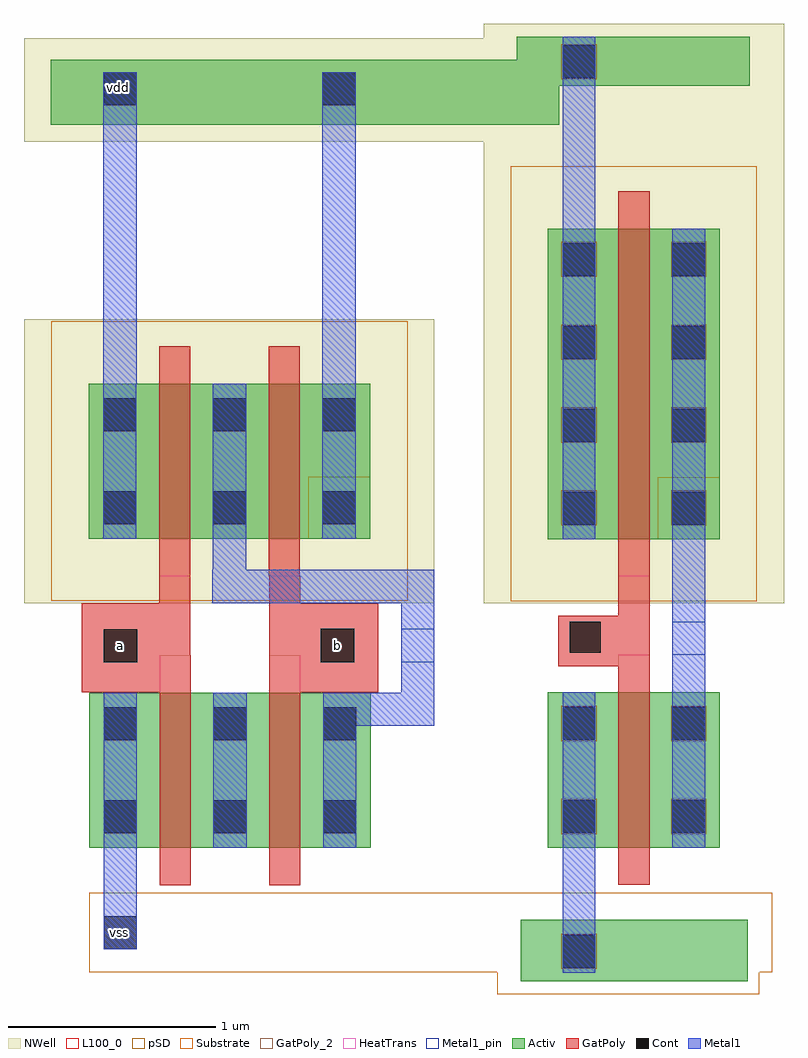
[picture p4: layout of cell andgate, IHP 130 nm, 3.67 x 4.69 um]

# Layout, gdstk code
import gdstk
lib = gdstk.Library(unit=1e-6, precision=1.5e-09)
def R(c, l, rs):  # rectangles x0, y0, x1, y1
    for r in rs: c.add(gdstk.rectangle(r[:2], r[2:], *l))
Activ = (1, 0)
GatPoly = (5, 0)
GatPoly_2 = (5, 2)
Cont = (6, 0)
Metal1 = (8, 0)
Metal1_pin = (8, 2)
pSD = (14, 0)
NWell = (31, 0)
Substrate = (40, 0)
HeatTrans = (51, 0)
L100_0 = (100, 0)

pmos_5 = lib.new_cell('pmos$5')
R(pmos_5, Activ, [(0,0,0.3,0.3), (0,0,1.3605,0.75), (0.5295,0,0.8295,0.3), (1.0605,0,1.3605,0.3)])
R(pmos_5, GatPoly, [(0.3405,-0.18,0.4905,0.93), (0.3405,-0.18,0.4905,0.93), (0.87,-0.18,1.02,0.93)])
R(pmos_5, Cont, [(0.0705,0.0705,0.2295,0.2295), (0.6,0.0705,0.7605,0.2295), (1.1295,0.0705,1.29,0.2295), (0.0705,0.5205,0.2295,0.6795), (0.6,0.5205,0.7605,0.6795), (1.1295,0.5205,1.29,0.6795)])
R(pmos_5, Metal1, [(0.0705,0,0.2295,0.75), (0.0705,0,0.2295,0.75), (0.6,0,0.7605,0.75), (0.6,0,0.7605,0.75), (1.1295,0,1.29,0.75)])
R(pmos_5, pSD, [(-0.18,-0.3,1.5405,1.05)])
R(pmos_5, NWell, [(-0.3105,-0.3105,1.6695,1.0605)])
R(pmos_5, Substrate, [(1.0605,0,1.3605,0.3)])
R(pmos_5, HeatTrans, [(0.3405,-0.18,0.4905,0.93), (0.87,-0.18,1.02,0.93)])
pmos_5.add(gdstk.Label('pmos', (0.4155,0.375), layer=63, texttype=0))
pmos_5.add(gdstk.Label('pmos', (0.4155,0.375), layer=51, texttype=0))
pmos_5.add(gdstk.Label('pmos', (0.945,0.375), layer=51, texttype=0))

nmos_6 = lib.new_cell('nmos$6')
R(nmos_6, Activ, [(0,0,0.3,0.3), (0,0,0.8295,0.75), (0.5295,0,0.8295,0.3)])
R(nmos_6, GatPoly, [(0.3405,-0.18,0.4905,0.93)])
R(nmos_6, GatPoly_2, [(0.3405,-0.18,0.4905,0.93)])
R(nmos_6, Cont, [(0.0705,0.0705,0.2295,0.2295), (0.6,0.0705,0.7605,0.2295), (0.0705,0.5205,0.2295,0.6795), (0.6,0.5205,0.7605,0.6795)])
R(nmos_6, Metal1, [(0.0705,0,0.2295,0.75), (0.6,0,0.7605,0.75)])
R(nmos_6, Metal1_pin, [(0.0705,0,0.2295,0.75), (0.6,0,0.7605,0.75)])
R(nmos_6, HeatTrans, [(0.3405,-0.18,0.4905,0.93)])
nmos_6.add(gdstk.Label('nmos', (0.4155,0.375), layer=63, texttype=0))
nmos_6.add(gdstk.Label('nmos', (0.4155,0.375), layer=51, texttype=0))

pmos_6 = lib.new_cell('pmos$6')
R(pmos_6, Activ, [(0,0,0.3,0.3), (0,0,0.8295,1.5), (0.5295,0,0.8295,0.3)])
R(pmos_6, GatPoly, [(0.3405,-0.18,0.4905,1.68), (0.3405,-0.18,0.4905,1.68)])
R(pmos_6, Cont, [(0.0705,0.0705,0.2295,0.2295), (0.6,0.0705,0.7605,0.2295), (0.0705,0.4695,0.2295,0.63), (0.6,0.4695,0.7605,0.63), (0.0705,0.87,0.2295,1.0305), (0.6,0.87,0.7605,1.0305), (0.0705,1.2705,0.2295,1.4295), (0.6,1.2705,0.7605,1.4295)])
R(pmos_6, Metal1, [(0.0705,0,0.2295,1.5), (0.0705,0,0.2295,1.5), (0.6,0,0.7605,1.5), (0.6,0,0.7605,1.5)])
R(pmos_6, pSD, [(-0.18,-0.3,1.0095,1.8)])
R(pmos_6, NWell, [(-0.3105,-0.3105,1.14,1.8105)])
R(pmos_6, Substrate, [(0.5295,0,0.8295,0.3)])
R(pmos_6, HeatTrans, [(0.3405,-0.18,0.4905,1.68)])
pmos_6.add(gdstk.Label('pmos', (0.4155,0.75), layer=63, texttype=0))
pmos_6.add(gdstk.Label('pmos', (0.4155,0.75), layer=51, texttype=0))

inverter_4 = lib.new_cell('inverter$4')
R(inverter_4, Activ, [(-0.7455,-1.77,0.3495,-1.4745), (-0.765,2.5545,0.36,2.79)])
R(inverter_4, GatPoly, [(-0.5655,-0.2505,-0.2745,-0.0045), (-0.2745,-0.195,-0.1245,0.1845)])
R(inverter_4, GatPoly_2, [(-0.51,-0.1845,-0.36,-0.0345)])
R(inverter_4, Cont, [(-0.5445,-1.7055,-0.3855,-1.545), (-0.5445,-1.7055,-0.3855,-1.545), (-0.51,-0.1845,-0.36,-0.0345), (-0.5445,2.5905,-0.3855,2.7495)])
R(inverter_4, Metal1, [(-0.5445,-1.7295,-0.3855,-0.8445), (-0.015,-0.375,0.1455,0.3645), (-0.5445,1.8645,-0.3855,2.79)])
R(inverter_4, Metal1_pin, [(-0.015,-0.57,0.1455,-0.435), (-0.015,-0.195,0.1455,-0.0345), (-0.5445,2.5905,-0.3855,2.7495)])
R(inverter_4, pSD, [(-0.8595,-1.8345,0.405,-1.4205)])
R(inverter_4, NWell, [(-0.9255,2.175,0.525,2.8545)])
R(inverter_4, L100_0, [(-0.5505,-1.71,-0.3795,-1.5405), (-0.5505,-1.71,-0.3795,-1.5405), (-0.5505,-1.0605,-0.3795,-0.8895), (-0.5505,-1.0605,-0.3795,-0.8895), (-0.0195,-1.0605,0.15,-0.8895), (-0.0195,-1.0605,0.15,-0.8895), (-0.5505,-0.6105,-0.3795,-0.4395), (-0.5505,-0.6105,-0.3795,-0.4395), (-0.0195,-0.6105,0.15,-0.4395), (-0.0195,-0.6105,0.15,-0.4395), (-0.5505,0.4305,-0.3795,0.6), (-0.5505,0.4305,-0.3795,0.6), (-0.0195,0.4305,0.15,0.6), (-0.0195,0.4305,0.15,0.6), (-0.5505,0.8295,-0.3795,1.0005), (-0.5505,0.8295,-0.3795,1.0005), (-0.0195,0.8295,0.15,1.0005), (-0.0195,0.8295,0.15,1.0005), (-0.5505,1.23,-0.3795,1.3995), (-0.5505,1.23,-0.3795,1.3995), (-0.0195,1.23,0.15,1.3995), (-0.0195,1.23,0.15,1.3995), (-0.5505,1.6305,-0.3795,1.8), (-0.5505,1.6305,-0.3795,1.8), (-0.0195,1.6305,0.15,1.8), (-0.0195,1.6305,0.15,1.8), (-0.5505,2.5845,-0.3795,2.7555), (-0.5505,2.5845,-0.3795,2.7555)])
inverter_4.add(gdstk.Reference(nmos_6, (-0.615,-1.125)))
inverter_4.add(gdstk.Reference(pmos_6, (-0.615,0.3645)))
inverter_4.add(gdstk.Label('out', (0.06,-0.09), layer=8, texttype=2))
inverter_4.add(gdstk.Label('vss', (-0.4755,-1.635), layer=8, texttype=2))
inverter_4.add(gdstk.Label('vdd', (-0.465,2.67), layer=8, texttype=2))
inverter_4.add(gdstk.Label('in', (-0.45,-0.1095), layer=5, texttype=2))

nmos_5 = lib.new_cell('nmos$5')
R(nmos_5, Activ, [(0,0,0.3,0.3), (0,0,1.3605,0.75), (0.5295,0,0.8295,0.3), (1.0605,0,1.3605,0.3)])
R(nmos_5, GatPoly, [(0.3405,-0.18,0.4905,0.93), (0.87,-0.18,1.02,0.93)])
R(nmos_5, GatPoly_2, [(0.3405,-0.18,0.4905,0.93)])
R(nmos_5, Cont, [(0.0705,0.0705,0.2295,0.2295), (0.6,0.0705,0.7605,0.2295), (1.1295,0.0705,1.29,0.2295), (0.0705,0.5205,0.2295,0.6795), (0.6,0.5205,0.7605,0.6795), (1.1295,0.5205,1.29,0.6795)])
R(nmos_5, Metal1, [(0.0705,0,0.2295,0.75), (0.6,0,0.7605,0.75), (1.1295,0,1.29,0.75)])
R(nmos_5, Metal1_pin, [(0.0705,0,0.2295,0.75), (0.6,0,0.7605,0.75)])
R(nmos_5, HeatTrans, [(0.3405,-0.18,0.4905,0.93), (0.87,-0.18,1.02,0.93)])
nmos_5.add(gdstk.Label('nmos', (0.4155,0.375), layer=63, texttype=0))
nmos_5.add(gdstk.Label('nmos', (0.4155,0.375), layer=51, texttype=0))
nmos_5.add(gdstk.Label('nmos', (0.945,0.375), layer=51, texttype=0))

andgate = lib.new_cell('andgate')
R(andgate, Activ, [(-2.5605,1.65,-0.105,1.965)])
R(andgate, GatPoly, [(-2.4105,-1.0905,-2.0355,-0.6615), (-1.506,-1.0905,-1.356,-0.5295), (-1.356,-1.0905,-0.9795,-0.66), (-2.037,-1.08,-1.887,-0.5295)])
R(andgate, GatPoly_2, [(-2.304,-0.9465,-2.1435,-0.786), (-2.304,-0.945,-2.145,-0.786), (-1.2555,-0.945,-1.0965,-0.786), (-1.2555,-0.945,-1.095,-0.7845)])
R(andgate, Cont, [(-2.3055,-2.3325,-2.145,-2.172), (-2.304,-0.9465,-2.1435,-0.786), (-1.2555,-0.945,-1.095,-0.7845), (-2.3055,1.7445,-2.145,1.905), (-1.248,1.7445,-1.0875,1.905)])
R(andgate, Metal1, [(-2.3055,-2.3325,-2.145,-1.842), (-1.245,-1.2525,-0.708,-1.092), (-0.8685,-1.2525,-0.708,-0.4995), (-1.7805,-0.66,-0.708,-0.4995), (-1.7775,-0.6495,-1.617,-0.3255), (-2.307,0.4005,-2.145,1.905), (-1.248,0.4005,-1.0875,1.905)])
R(andgate, Metal1_pin, [(-2.3055,-2.3325,-2.145,-2.172), (-0.8685,-0.945,-0.708,-0.7845), (-2.307,1.7445,-2.145,1.905)])
R(andgate, pSD, [(-2.3745,-2.4435,0.924,-2.058)])
R(andgate, NWell, [(-2.6895,1.5675,0.027,2.067)])
andgate.add(gdstk.Reference(pmos_5, (-2.3775,-0.3495)))
andgate.add(gdstk.Reference(inverter_4, (0.456,-0.7155)))
andgate.add(gdstk.Reference(nmos_5, (-2.3745,-1.842)))
andgate.add(gdstk.Label('vss', (-2.226,-2.253), layer=8, texttype=2))
andgate.add(gdstk.Label('vdd', (-2.235,1.83), layer=8, texttype=2))
andgate.add(gdstk.Label('a', (-2.2245,-0.867), layer=5, texttype=2))
andgate.add(gdstk.Label('b', (-1.176,-0.8655), layer=5, texttype=2))

lib.write_gds('andgate.gds')
